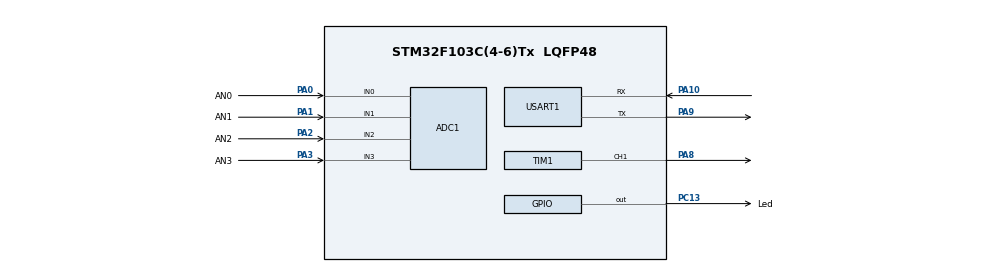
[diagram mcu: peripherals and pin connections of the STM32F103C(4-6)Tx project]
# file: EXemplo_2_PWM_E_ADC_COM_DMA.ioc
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ADC1.Channel-0\#ChannelRegularConversion=ADC_CHANNEL_0
ADC1.Channel-1\#ChannelRegularConversion=ADC_CHANNEL_1
ADC1.Channel-2\#ChannelRegularConversion=ADC_CHANNEL_2
ADC1.Channel-3\#ChannelRegularConversion=ADC_CHANNEL_3
ADC1.ContinuousConvMode=ENABLE
ADC1.NbrOfConversion=4
ADC1.NbrOfConversionFlag=1
ADC1.Rank-0\#ChannelRegularConversion=1
ADC1.Rank-1\#ChannelRegularConversion=2
ADC1.Rank-2\#ChannelRegularConversion=3
ADC1.Rank-3\#ChannelRegularConversion=4
ADC1.SamplingTime-0\#ChannelRegularConversion=ADC_SAMPLETIME_28CYCLES_5
ADC1.SamplingTime-1\#ChannelRegularConversion=ADC_SAMPLETIME_28CYCLES_5
ADC1.SamplingTime-2\#ChannelRegularConversion=ADC_SAMPLETIME_28CYCLES_5
ADC1.SamplingTime-3\#ChannelRegularConversion=ADC_SAMPLETIME_28CYCLES_5
ADC1.master=1
Dma.ADC1.0.Direction=DMA_PERIPH_TO_MEMORY
Dma.ADC1.0.Instance=DMA1_Channel1
Dma.ADC1.0.MemDataAlignment=DMA_MDATAALIGN_HALFWORD
Dma.ADC1.0.MemInc=DMA_MINC_ENABLE
Dma.ADC1.0.Mode=DMA_CIRCULAR
Dma.ADC1.0.PeriphDataAlignment=DMA_PDATAALIGN_HALFWORD
Dma.ADC1.0.PeriphInc=DMA_PINC_DISABLE
Dma.ADC1.0.Priority=DMA_PRIORITY_LOW
Dma.Request0=ADC1
Mcu.Family=STM32F1
Mcu.Name=STM32F103C(4-6)Tx
Mcu.Package=LQFP48
NVIC.DMA1_Channel1_IRQn=true\:0\:0\:false\:false\:true\:false\:true\:true
NVIC.PriorityGroup=NVIC_PRIORITYGROUP_4
PA0-WKUP.GPIO_Label=AN0
PA0-WKUP.Signal=ADCx_IN0
PA1.GPIO_Label=AN1
PA1.Signal=ADCx_IN1
PA10.Mode=Asynchronous
PA10.Signal=USART1_RX
PA13.Mode=Serial_Wire
PA13.Signal=SYS_JTMS-SWDIO
PA14.Mode=Serial_Wire
PA14.Signal=SYS_JTCK-SWCLK
PA2.GPIO_Label=AN2
PA2.Signal=ADCx_IN2
PA3.GPIO_Label=AN3
PA3.Signal=ADCx_IN3
PA8.Signal=S_TIM1_CH1
PA9.Mode=Asynchronous
PA9.Signal=USART1_TX
PC13-TAMPER-RTC.GPIO_Label=Led
PC13-TAMPER-RTC.Signal=GPIO_Output
PD0-OSC_IN.Mode=HSE-External-Oscillator
PD0-OSC_IN.Signal=RCC_OSC_IN
PD1-OSC_OUT.Mode=HSE-External-Oscillator
PD1-OSC_OUT.Signal=RCC_OSC_OUT
ProjectManager.HeapSize=0x200
ProjectManager.StackSize=0x400
ProjectManager.TargetToolchain=STM32CubeIDE
RCC.APB1Freq_Value=8000000
RCC.APB2Freq_Value=8000000
SH.ADCx_IN0.0=ADC1_IN0,IN0
SH.ADCx_IN1.0=ADC1_IN1,IN1
SH.ADCx_IN2.0=ADC1_IN2,IN2
SH.ADCx_IN3.0=ADC1_IN3,IN3
SH.S_TIM1_CH1.0=TIM1_CH1,PWM Generation1 CH1
TIM1.Channel-PWM\ Generation1\ CH1=TIM_CHANNEL_1
USART1.VirtualMode=VM_ASYNC
VP_TIM1_VS_ClockSourceINT.Mode=Internal
VP_TIM1_VS_ClockSourceITR.Mode=TriggerSource_ITR0
board=custom

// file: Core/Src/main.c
/* USER CODE BEGIN Header */
/**
  ******************************************************************************
  * @file           : main.c
  * @brief          : Main program body
  ******************************************************************************
  * @attention
  *
  * Copyright (c) 2026 STMicroelectronics.
  * All rights reserved.
  *
  * This software is licensed under terms that can be found in the LICENSE file
  * in the root directory of this software component.
  * If no LICENSE file comes with this software, it is provided AS-IS.
  *
  ******************************************************************************
  */
/* USER CODE END Header */
#include "main.h"

/* USER CODE BEGIN Includes */
#include "stdio.h"
#include "string.h"

/* USER CODE END Includes */

/* USER CODE BEGIN PTD */
typedef enum {
  ADC_Pedal1 = 0,
  ADC_Pedal2 = 1,
  ADC_Borboleta1 = 2,
  ADC_Borboleta2 = 3,
} ADC_Channel_t;
/* USER CODE END PTD */

ADC_HandleTypeDef hadc1;
DMA_HandleTypeDef hdma_adc1;

TIM_HandleTypeDef htim1;

UART_HandleTypeDef huart1;

/* USER CODE BEGIN PV */
static const uint8_t uartTxMessage[50];
#define ADC_BUFFER_SIZE 4
uint16_t adcBuffer[ADC_BUFFER_SIZE];
float voltagePedal1 = 0.0;
float voltagePedal2 = 0.0;
float voltageBorboleta1 = 0.0;
float voltageBorboleta2 = 0.0;
uint16_t dutyCyclePedal1 =0;

/* USER CODE END PV */

void SystemClock_Config(void);
static void MX_GPIO_Init(void);
static void MX_DMA_Init(void);
static void MX_ADC1_Init(void);
static void MX_TIM1_Init(void);
static void MX_USART1_UART_Init(void);
/* USER CODE BEGIN PFP */
uint16_t somaSensor(ADC_Channel_t channel );
/* USER CODE END PFP */

int main(void)
{

  /* MCU Configuration--------------------------------------------------------*/

  /* Reset of all peripherals, Initializes the Flash interface and the Systick. */
  HAL_Init();

  /* Configure the system clock */
  SystemClock_Config();

  /* Initialize all configured peripherals */
  MX_GPIO_Init();
  MX_DMA_Init();
  MX_ADC1_Init();
  MX_TIM1_Init();
  MX_USART1_UART_Init();
  /* USER CODE BEGIN 2 */
  HAL_TIM_PWM_Start(&htim1, TIM_CHANNEL_1);
  HAL_ADC_Stop(&hadc1); //Desabilita o periférico
  HAL_ADCEx_Calibration_Start(&hadc1);
  /* Inicia ADC em modo de conversão contínua com DMA */
  HAL_ADC_Start_DMA(&hadc1, (uint32_t *)adcBuffer, ADC_BUFFER_SIZE);

  /* USER CODE END 2 */

  /* Infinite loop */
  /* USER CODE BEGIN WHILE */
  while (1)
  {
    /* Transmite mensagem via UART1 */
    HAL_UART_Transmit(&huart1, (uint8_t *)uartTxMessage, sizeof(uartTxMessage) - 1, HAL_MAX_DELAY);
    HAL_Delay(1000);
    HAL_GPIO_TogglePin(Led_GPIO_Port, Led_Pin);
    //uint16_t pedal1 = adcBuffer[ADC_Pedal1];
   // uint16_t pedal2 = adcBuffer[ADC_Pedal2];
    //uint16_t borboleta1 = adcBuffer[ADC_Borboleta1];
    //uint16_t borboleta2 = adcBuffer[ADC_Borboleta2];
    uint16_t pedal1 = somaSensor(ADC_Pedal1);
    uint16_t pedal2 = somaSensor(ADC_Pedal2);
    uint16_t borboleta1 = somaSensor(ADC_Borboleta1);
    uint16_t borboleta2 = somaSensor(ADC_Borboleta2);

     voltagePedal1 = (pedal1 * 3.3) / 4095;
     voltagePedal2 = (pedal2 * 3.3) / 4095;
     voltageBorboleta1 = (borboleta1 * 3.3)  / 4095;
     voltageBorboleta2 = (borboleta2 * 3.3)  / 4095;

     dutyCyclePedal1 = (pedal1 * 1000) / 4095;
    __HAL_TIM_SET_COMPARE(&htim1, TIM_CHANNEL_1, dutyCyclePedal1);

    /* USER CODE END WHILE */

  }
}

void SystemClock_Config(void)
{
  RCC_OscInitTypeDef RCC_OscInitStruct = {0};
  RCC_ClkInitTypeDef RCC_ClkInitStruct = {0};
  RCC_PeriphCLKInitTypeDef PeriphClkInit = {0};

  /** Initializes the RCC Oscillators according to the specified parameters
  * in the RCC_OscInitTypeDef structure.
  */
  RCC_OscInitStruct.OscillatorType = RCC_OSCILLATORTYPE_HSI;
  RCC_OscInitStruct.HSIState = RCC_HSI_ON;
  RCC_OscInitStruct.HSICalibrationValue = RCC_HSICALIBRATION_DEFAULT;
  RCC_OscInitStruct.PLL.PLLState = RCC_PLL_NONE;
  if (HAL_RCC_OscConfig(&RCC_OscInitStruct) != HAL_OK)
  {
    Error_Handler();
  }

  /** Initializes the CPU, AHB and APB buses clocks
  */
  RCC_ClkInitStruct.ClockType = RCC_CLOCKTYPE_HCLK|RCC_CLOCKTYPE_SYSCLK
                              |RCC_CLOCKTYPE_PCLK1|RCC_CLOCKTYPE_PCLK2;
  RCC_ClkInitStruct.SYSCLKSource = RCC_SYSCLKSOURCE_HSI;
  RCC_ClkInitStruct.AHBCLKDivider = RCC_SYSCLK_DIV1;
  RCC_ClkInitStruct.APB1CLKDivider = RCC_HCLK_DIV1;
  RCC_ClkInitStruct.APB2CLKDivider = RCC_HCLK_DIV1;

  if (HAL_RCC_ClockConfig(&RCC_ClkInitStruct, FLASH_LATENCY_0) != HAL_OK)
  {
    Error_Handler();
  }
  PeriphClkInit.PeriphClockSelection = RCC_PERIPHCLK_ADC;
  PeriphClkInit.AdcClockSelection = RCC_ADCPCLK2_DIV2;
  if (HAL_RCCEx_PeriphCLKConfig(&PeriphClkInit) != HAL_OK)
  {
    Error_Handler();
  }
}

static void MX_ADC1_Init(void)
{

  ADC_ChannelConfTypeDef sConfig = {0};

  /** Common config
  */
  hadc1.Instance = ADC1;
  hadc1.Init.ScanConvMode = ADC_SCAN_ENABLE;
  hadc1.Init.ContinuousConvMode = ENABLE;
  hadc1.Init.DiscontinuousConvMode = DISABLE;
  hadc1.Init.ExternalTrigConv = ADC_SOFTWARE_START;
  hadc1.Init.DataAlign = ADC_DATAALIGN_RIGHT;
  hadc1.Init.NbrOfConversion = 4;
  if (HAL_ADC_Init(&hadc1) != HAL_OK)
  {
    Error_Handler();
  }

  /** Configure Regular Channel
  */
  sConfig.Channel = ADC_CHANNEL_0;
  sConfig.Rank = ADC_REGULAR_RANK_1;
  sConfig.SamplingTime = ADC_SAMPLETIME_28CYCLES_5;
  if (HAL_ADC_ConfigChannel(&hadc1, &sConfig) != HAL_OK)
  {
    Error_Handler();
  }

  /** Configure Regular Channel
  */
  sConfig.Channel = ADC_CHANNEL_1;
  sConfig.Rank = ADC_REGULAR_RANK_2;
  if (HAL_ADC_ConfigChannel(&hadc1, &sConfig) != HAL_OK)
  {
    Error_Handler();
  }

  /** Configure Regular Channel
  */
  sConfig.Channel = ADC_CHANNEL_2;
  sConfig.Rank = ADC_REGULAR_RANK_3;
  if (HAL_ADC_ConfigChannel(&hadc1, &sConfig) != HAL_OK)
  {
    Error_Handler();
  }

  /** Configure Regular Channel
  */
  sConfig.Channel = ADC_CHANNEL_3;
  sConfig.Rank = ADC_REGULAR_RANK_4;
  if (HAL_ADC_ConfigChannel(&hadc1, &sConfig) != HAL_OK)
  {
    Error_Handler();
  }

}

static void MX_TIM1_Init(void)
{

  TIM_ClockConfigTypeDef sClockSourceConfig = {0};
  TIM_SlaveConfigTypeDef sSlaveConfig = {0};
  TIM_MasterConfigTypeDef sMasterConfig = {0};
  TIM_OC_InitTypeDef sConfigOC = {0};
  TIM_BreakDeadTimeConfigTypeDef sBreakDeadTimeConfig = {0};

  htim1.Instance = TIM1;
  htim1.Init.Prescaler = 72-1;
  htim1.Init.CounterMode = TIM_COUNTERMODE_UP;
  htim1.Init.Period = 1000;
  htim1.Init.ClockDivision = TIM_CLOCKDIVISION_DIV1;
  htim1.Init.RepetitionCounter = 0;
  htim1.Init.AutoReloadPreload = TIM_AUTORELOAD_PRELOAD_ENABLE;
  if (HAL_TIM_Base_Init(&htim1) != HAL_OK)
  {
    Error_Handler();
  }
  sClockSourceConfig.ClockSource = TIM_CLOCKSOURCE_INTERNAL;
  if (HAL_TIM_ConfigClockSource(&htim1, &sClockSourceConfig) != HAL_OK)
  {
    Error_Handler();
  }
  if (HAL_TIM_PWM_Init(&htim1) != HAL_OK)
  {
    Error_Handler();
  }
  sSlaveConfig.SlaveMode = TIM_SLAVEMODE_DISABLE;
  sSlaveConfig.InputTrigger = TIM_TS_ITR0;
  if (HAL_TIM_SlaveConfigSynchro(&htim1, &sSlaveConfig) != HAL_OK)
  {
    Error_Handler();
  }
  sMasterConfig.MasterOutputTrigger = TIM_TRGO_RESET;
  sMasterConfig.MasterSlaveMode = TIM_MASTERSLAVEMODE_DISABLE;
  if (HAL_TIMEx_MasterConfigSynchronization(&htim1, &sMasterConfig) != HAL_OK)
  {
    Error_Handler();
  }
  sConfigOC.OCMode = TIM_OCMODE_PWM1;
  sConfigOC.Pulse = 0;
  sConfigOC.OCPolarity = TIM_OCPOLARITY_HIGH;
  sConfigOC.OCNPolarity = TIM_OCNPOLARITY_HIGH;
  sConfigOC.OCFastMode = TIM_OCFAST_DISABLE;
  sConfigOC.OCIdleState = TIM_OCIDLESTATE_RESET;
  sConfigOC.OCNIdleState = TIM_OCNIDLESTATE_RESET;
  if (HAL_TIM_PWM_ConfigChannel(&htim1, &sConfigOC, TIM_CHANNEL_1) != HAL_OK)
  {
    Error_Handler();
  }
  sBreakDeadTimeConfig.OffStateRunMode = TIM_OSSR_DISABLE;
  sBreakDeadTimeConfig.OffStateIDLEMode = TIM_OSSI_DISABLE;
  sBreakDeadTimeConfig.LockLevel = TIM_LOCKLEVEL_OFF;
  sBreakDeadTimeConfig.DeadTime = 0;
  sBreakDeadTimeConfig.BreakState = TIM_BREAK_DISABLE;
  sBreakDeadTimeConfig.BreakPolarity = TIM_BREAKPOLARITY_HIGH;
  sBreakDeadTimeConfig.AutomaticOutput = TIM_AUTOMATICOUTPUT_DISABLE;
  if (HAL_TIMEx_ConfigBreakDeadTime(&htim1, &sBreakDeadTimeConfig) != HAL_OK)
  {
    Error_Handler();
  }
  HAL_TIM_MspPostInit(&htim1);

}

static void MX_USART1_UART_Init(void)
{

  huart1.Instance = USART1;
  huart1.Init.BaudRate = 115200;
  huart1.Init.WordLength = UART_WORDLENGTH_8B;
  huart1.Init.StopBits = UART_STOPBITS_1;
  huart1.Init.Parity = UART_PARITY_NONE;
  huart1.Init.Mode = UART_MODE_TX_RX;
  huart1.Init.HwFlowCtl = UART_HWCONTROL_NONE;
  huart1.Init.OverSampling = UART_OVERSAMPLING_16;
  if (HAL_UART_Init(&huart1) != HAL_OK)
  {
    Error_Handler();
  }

}

static void MX_DMA_Init(void)
{

  /* DMA controller clock enable */
  __HAL_RCC_DMA1_CLK_ENABLE();

  /* DMA interrupt init */
  /* DMA1_Channel1_IRQn interrupt configuration */
  HAL_NVIC_SetPriority(DMA1_Channel1_IRQn, 0, 0);
  HAL_NVIC_EnableIRQ(DMA1_Channel1_IRQn);

}

static void MX_GPIO_Init(void)
{
  GPIO_InitTypeDef GPIO_InitStruct = {0};

  /* GPIO Ports Clock Enable */
  __HAL_RCC_GPIOC_CLK_ENABLE();
  __HAL_RCC_GPIOD_CLK_ENABLE();
  __HAL_RCC_GPIOA_CLK_ENABLE();

  /*Configure GPIO pin Output Level */
  HAL_GPIO_WritePin(Led_GPIO_Port, Led_Pin, GPIO_PIN_RESET);

  /*Configure GPIO pin : Led_Pin */
  GPIO_InitStruct.Pin = Led_Pin;
  GPIO_InitStruct.Mode = GPIO_MODE_OUTPUT_PP;
  GPIO_InitStruct.Pull = GPIO_NOPULL;
  GPIO_InitStruct.Speed = GPIO_SPEED_FREQ_LOW;
  HAL_GPIO_Init(Led_GPIO_Port, &GPIO_InitStruct);

}

/* USER CODE BEGIN 4 */
uint16_t somaSensor(ADC_Channel_t channel ){
  uint32_t soma = 0;
  uint8_t cont=0;
  uint16_t mediaTemp =0;
 while(cont < 50){
    soma += adcBuffer[cont];
    cont++;
  }
  mediaTemp = soma/50;
  return mediaTemp;
}
/* USER CODE END 4 */

void Error_Handler(void)
{
  __disable_irq();
  while (1)
  {
  }
}
